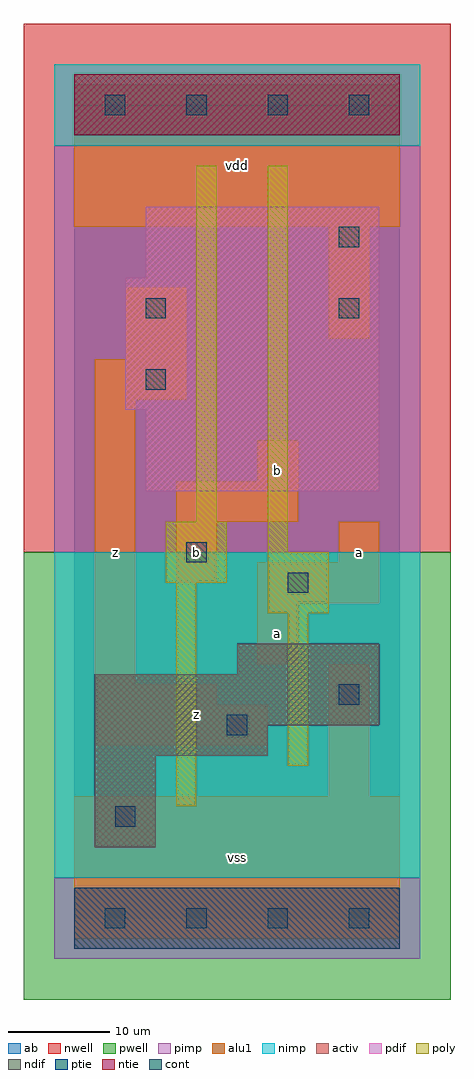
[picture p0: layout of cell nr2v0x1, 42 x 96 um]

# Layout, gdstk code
import gdstk
lib = gdstk.Library(unit=1e-6, precision=1e-09)
def R(c, l, rs):  # rectangles x0, y0, x1, y1
    for r in rs: c.add(gdstk.rectangle(r[:2], r[2:], *l))
def A(c, l, x, y, w, h, nx, ny, dx, dy):  # array of equal rectangles
    R(c, l, [(x+i*dx, y+j*dy, x+i*dx+w, y+j*dy+h) for i in range(nx) for j in range(ny)])
ndif = (3, 0)
pdif = (4, 0)
ntie = (5, 0)
ptie = (6, 0)
cont = (25, 0)
pwell = (41, 0)
nwell = (42, 0)
activ = (43, 0)
pimp = (44, 0)
nimp = (45, 0)
poly = (46, 0)
alu1 = (49, 0)
ab = (63, 0)

nr2v0x1 = lib.new_cell('nr2v0x1')
R(nr2v0x1, ndif, [(2,7,8,16), (2,16,19,19), (2,19,30,24), (16,24,30,27)])
R(nr2v0x1, pdif, [(7,42,30,50), (5,50,30,63), (7,63,30,70)])
R(nr2v0x1, ntie, [(0,77,32,83)])
R(nr2v0x1, ptie, [(0,-3,32,3)])
A(nr2v0x1, cont, 3, -1, 2, 2, 4, 2, 8, 80)
R(nr2v0x1, cont, [(4,9,6,11), (15,18,17,20), (26,21,28,23), (21,32,23,34), (11,35,13,37), (7,52,9,54), (7,59,9,61), (26,59,28,61), (26,66,28,68)])
R(nr2v0x1, pwell, [(-5,-8,37,36)])
R(nr2v0x1, nwell, [(-5,36,37,88)])
R(nr2v0x1, activ, [(0,-3,32,3), (2,7,8,16), (2,16,19,19), (2,19,30,24), (16,24,30,27), (7,42,30,50), (5,50,30,63), (7,63,30,70), (0,77,32,83)])
R(nr2v0x1, pimp, [(-2,-4,34,4), (-2,36,34,76)])
R(nr2v0x1, nimp, [(-2,4,34,36), (-2,76,34,84)])
R(nr2v0x1, poly, [(10,11,12,33), (21,15,23,30), (19,30,25,36), (9,33,15,39), (19,36,21,74), (12,39,14,74)])
R(nr2v0x1, alu1, [(0,-2,32,12), (25,12,29,25), (2,17,19,21), (2,21,14,23), (2,23,6,51), (18,25,22,31), (18,31,30,35), (10,33,14,39), (26,35,30,39), (10,39,22,43), (18,43,22,47), (2,51,11,55), (5,55,11,62), (25,57,29,68), (0,68,32,82)])
R(nr2v0x1, ab, [(0,0,32,80)])
nr2v0x1.add(gdstk.Label('z', (4,36), layer=49, texttype=0))
nr2v0x1.add(gdstk.Label('z', (12,20), layer=49, texttype=0))
nr2v0x1.add(gdstk.Label('b', (12,36), layer=49, texttype=0))
nr2v0x1.add(gdstk.Label('vss', (16,6), layer=49, texttype=0))
nr2v0x1.add(gdstk.Label('a', (20,28), layer=49, texttype=0))
nr2v0x1.add(gdstk.Label('b', (20,44), layer=49, texttype=0))
nr2v0x1.add(gdstk.Label('vdd', (16,74), layer=49, texttype=0))
nr2v0x1.add(gdstk.Label('a', (28,36), layer=49, texttype=0))

lib.write_gds('nr2v0x1.gds')
